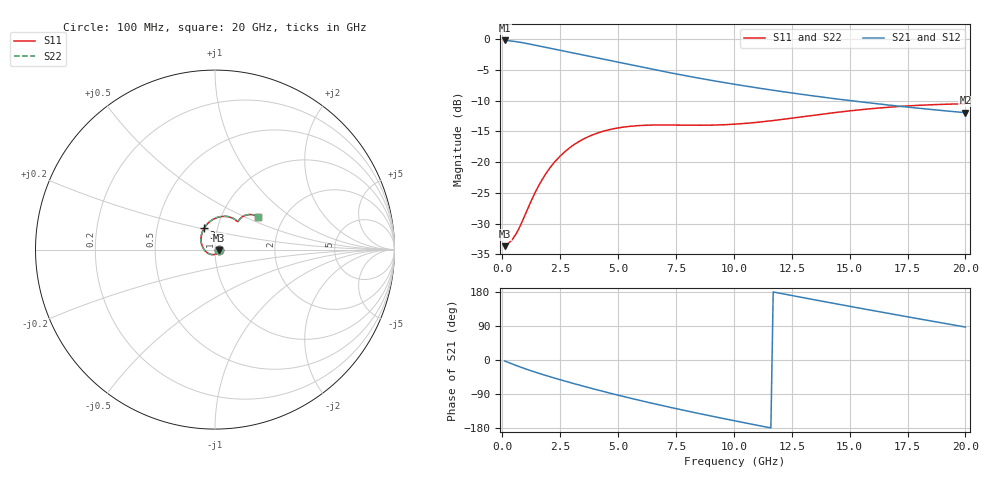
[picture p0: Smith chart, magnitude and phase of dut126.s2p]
! Touchstone file exported from HFSS 2023.1.0
!  File:  D:/Users/fzz/RDL_TSV/temp_RDL_TSV_126_1778750979.aedt
!  Generated:  5:41:36 %x4E0B%x5348  5%x6708 14, 2026
!  Design:  RDL_TSV
!  Project:  temp_RDL_TSV_126_1778750979
!  Setup:  Setup1
!  Solution:  Sweep
! Variables:
!  dtsv = 18.23um
!  hbump = 3um
!  htsv = 74.06um
!  ldown = 557.2um
!  lrdl = 529.85um
!  p = 40
!  p1 = 48.22um
!  rhole = 10um
!  subl = 3791um
!  t = 450um
!  tdown = 2.1um
!  trdl = 4.02um
!  viad = 10um
!  wdown = 22.36um
!  wrdl = 23.37um
!  xbump = 18um
# GHz S MA R 50.000000
! Terminal data exported
! Port[1] = TM1_1_T1
! Port[2] = TM1_4_T1
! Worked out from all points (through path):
!   200 points, 100 MHz to 20 GHz, reference 50 ohm
!   highest |S21| = -0.19 dB at 100 MHz (marker M1); lowest = -11.9 dB at 20 GHz (marker M2)
!   group delay of S21, straight-line fit = 36.1 ps
!   lowest |S11| = -33.7 dB at 100 MHz (marker M3), VSWR 1.04, Z = 52.1 - j0.486 ohm
!   |S11| at or under -10 dB: start of sweep to end of sweep
!   |S22| runs from -33.7 to -10.5 dB; largest |S21 - S12| = 1.2e-14
!   S11 on the Smith chart (normalised r, x): 100 MHz: 1.04, -0.01; 3 GHz: 0.86, +0.21; 20 GHz: 1.48, +0.59
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0.1  0.0207 -13.0  0.9786 -2.5  0.9786 -2.5  0.0207 -13.0
! Gamma 0 0 0 0
! Port Impedance 50 0 50 0
0.4  0.02314 -56.7  0.9678 -9.8  0.9678 -9.8  0.02314 -56.8
0.6  0.02614 -86.8  0.9568 -14.5  0.9568 -14.5  0.02614 -86.9
1  0.0378 -137.8  0.9287 -23.4  0.9287 -23.4  0.03784 -137.9
1.4  0.05565 -173.0  0.8967 -31.6  0.8967 -31.6  0.05581 -173.2
1.7  0.07099 167.6  0.8724 -37.5  0.8724 -37.5  0.07124 167.5
2.1  0.09196 147.7  0.8412 -44.9  0.8412 -44.9  0.09235 147.6
2.5  0.1121 132.0  0.8115 -52.1  0.8115 -52.1  0.1126 131.9
3  0.1348 116.3  0.7764 -60.7  0.7764 -60.7  0.1355 116.2
3.5  0.1541 103.5  0.743 -69.1  0.743 -69.1  0.1549 103.5
4.3  0.1771 87.4  0.6921 -82.0  0.6921 -82.0  0.1782 87.4
5.2  0.1925 73.9  0.6386 -95.8  0.6386 -95.8  0.1938 73.9
6  0.1989 65.1  0.5948 -107.6  0.5948 -107.6  0.2003 65.1
6.8  0.2008 58.8  0.5547 -118.8  0.5547 -118.8  0.2021 58.7
8.4  0.1998 52.2  0.4862 -140.0  0.4862 -140.0  0.2011 52.1
10.1  0.2041 50.9  0.4282 -161.3  0.4282 -161.3  0.2052 50.7
11.6  0.217 51.0  0.387 -179.3  0.387 -179.3  0.218 50.9
13.4  0.2401 50.0  0.3468 159.8  0.3468 159.8  0.2409 49.9
15  0.2614 47.6  0.3174 141.6  0.3174 141.6  0.2623 47.6
16.7  0.2801 44.2  0.2914 122.8  0.2914 122.8  0.2811 44.1
18.3  0.292 40.7  0.2709 105.3  0.2709 105.3  0.2931 40.8
20  0.2987 37.5  0.2528 86.9  0.2528 86.9  0.2999 37.6
